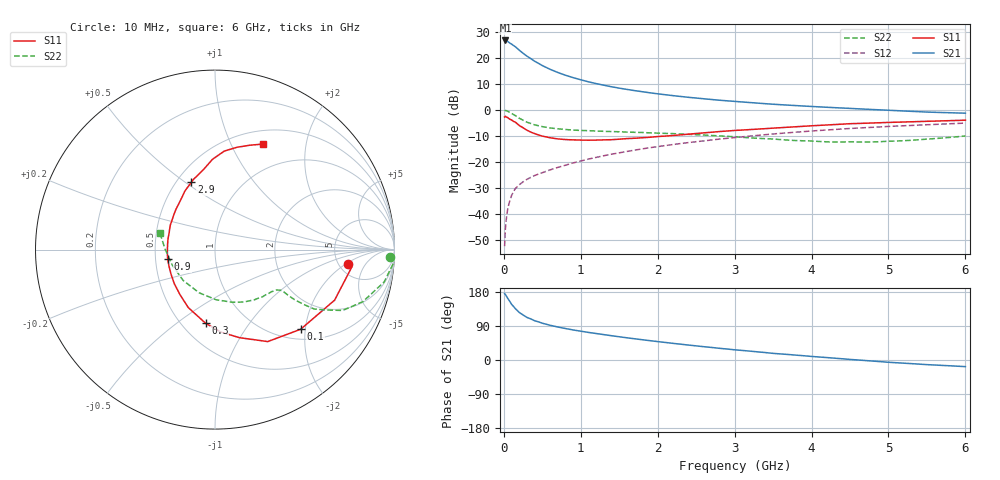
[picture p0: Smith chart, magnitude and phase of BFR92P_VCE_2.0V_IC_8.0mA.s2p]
! Infineon Technologies  Discrete & RF Semiconductors
! BFR92P
! VCE =  2.0 V,  IC =  8.0 mA
! Common Emitter S-Parameters:  Apr 2014
# GHz  S  MA  R  50
!  f  S11  S21  S12  S22
! GHz  MAG  ANG  MAG  ANG  MAG  ANG  MAG  ANG
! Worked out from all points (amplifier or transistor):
!   77 points, 10 MHz to 6 GHz, reference 50 ohm
!   highest |S21| = 26.9 dB at 20 MHz (marker M1)
!   |S21| within 3 dB of that: start of sweep to 171.8 MHz
!   unconditionally stable (mu >= 1): 760.1 MHz to 2.714 GHz
!   at 130 MHz: K = 0.34, MSG = 28.0 dB, |S12| = -31.2 dB
!   at 2.2 GHz: K = 1.04, MAG = 8.2 dB, |S12| = -13.2 dB
!   at 6 GHz: K = 0.89, MSG = 1.9 dB, |S12| = -4.9 dB
!   S11 on the Smith chart (normalised r, x): 10 MHz: 6.05, -2.11; 100 MHz: 1.22, -1.89; 300 MHz: 0.65, -0.64; 900 MHz: 0.58, -0.07; 2.9 GHz: 0.59, +0.53; 6 GHz: 0.66, +1.33
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0.01  0.7438 -6.0  21.72 175.0  0.0024 85.1  0.9754 -2.3
0.02  0.7675 -7.4  22.21 172.9  0.0051 90.6  0.9969 -4.4
0.05  0.7236 -22.9  21.3 162.8  0.0124 80.1  0.9599 -10.8
0.1  0.6517 -42.9  18.92 147.0  0.0226 70.1  0.8737 -19.4
0.15  0.5906 -60.2  16.79 135.5  0.031 65.4  0.7874 -25.5
0.2  0.5092 -74.5  14.43 125.5  0.0367 61.8  0.703 -28.6
0.25  0.4608 -85.9  12.58 118.8  0.0417 61.1  0.6445 -30.9
0.3  0.4136 -97.3  11.07 112.4  0.0466 59.7  0.5902 -31.6
0.4  0.3555 -114.8  8.83 103.6  0.0552 59.8  0.5239 -32.2
0.5  0.3181 -127.8  7.282 97.1  0.0626 60.9  0.4843 -32.0
0.6  0.2957 -140.1  6.179 91.7  0.0709 62.0  0.4574 -31.7
0.7  0.2812 -150.3  5.37 87.2  0.0791 62.7  0.4394 -31.5
0.8  0.2727 -159.9  4.744 83.1  0.0872 63.2  0.4263 -32.0
0.9  0.2689 -168.6  4.267 79.3  0.0966 63.3  0.4159 -32.8
1.1  0.265 178.1  3.541 72.8  0.1147 63.9  0.4044 -34.5
1.5  0.2772 155.7  2.674 61.3  0.1513 62.7  0.3856 -39.7
2.1  0.3187 131.1  1.995 46.3  0.209 58.7  0.3588 -50.1
2.9  0.3984 109.2  1.524 29.0  0.2879 51.4  0.3148 -68.6
3.1  0.4164 105.2  1.447 25.2  0.3078 49.0  0.3011 -74.8
4.1  0.5117 90.2  1.164 7.9  0.4079 37.4  0.2505 -115.1
5.1  0.589 76.5  0.986 -7.2  0.4955 24.2  0.2556 -164.6
6  0.6447 65.7  0.88 -17.5  0.5668 12.1  0.3195 163.5
